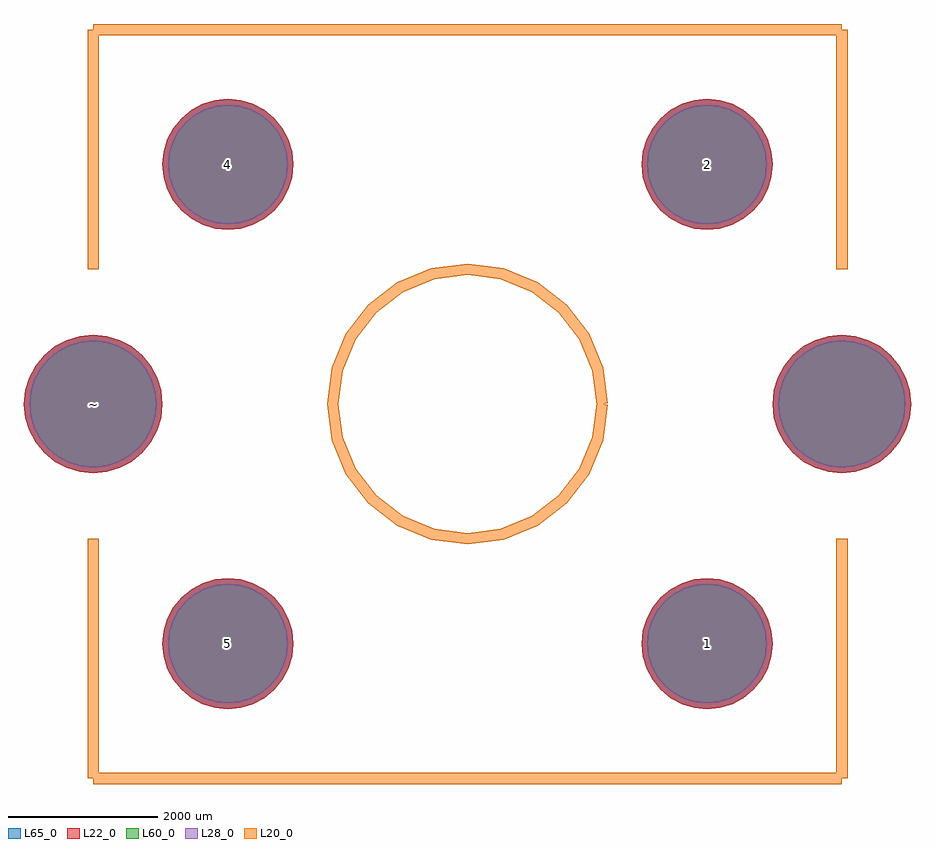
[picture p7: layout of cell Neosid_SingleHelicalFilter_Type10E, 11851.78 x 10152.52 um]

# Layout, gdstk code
import gdstk
lib = gdstk.Library(unit=1e-6, precision=1e-09)
def P(c, l, *ps):  # polygons
    for p in ps: c.add(gdstk.Polygon(p, *l))
L20_0 = (20, 0)
L22_0 = (22, 0)
L28_0 = (28, 0)
L60_0 = (60, 0)
L65_0 = (65, 0)

neosid_singlehelicalfilt = lib.new_cell('Neosid_SingleHelicalFilter_Type10E')
P(neosid_singlehelicalfilt, L22_0, [(5925.89,0),(5908.123,180.386),(5855.507,353.841),(5770.062,513.697),(5655.072,653.812),(5514.957,768.802),(5355.101,854.247),(5181.646,906.863),(5001.26,924.63),(4820.874,906.863),(4647.419,854.247),(4487.563,768.802),(4347.448,653.812),(4232.458,513.697),(4147.013,353.841),(4094.397,180.386),(4076.63,0),(4094.397,-180.386),(4147.013,-353.841),(4232.458,-513.697),(4347.448,-653.812),(4487.563,-768.802),(4647.419,-854.247),(4820.874,-906.863),(5001.26,-924.63),(5181.646,-906.863),(5355.101,-854.247),(5514.957,-768.802),(5655.072,-653.812),(5770.062,-513.697),(5855.507,-353.841),(5908.123,-180.386)],
  [(-4076.63,0),(-4094.397,180.386),(-4147.013,353.841),(-4232.458,513.697),(-4347.448,653.812),(-4487.563,768.802),(-4647.419,854.247),(-4820.874,906.863),(-5001.26,924.63),(-5181.646,906.863),(-5355.101,854.247),(-5514.957,768.802),(-5655.072,653.812),(-5770.062,513.697),(-5855.507,353.841),(-5908.123,180.386),(-5925.89,0),(-5908.123,-180.386),(-5855.507,-353.841),(-5770.062,-513.697),(-5655.072,-653.812),(-5514.957,-768.802),(-5355.101,-854.247),(-5181.646,-906.863),(-5001.26,-924.63),(-4820.874,-906.863),(-4647.419,-854.247),(-4487.563,-768.802),(-4347.448,-653.812),(-4232.458,-513.697),(-4147.013,-353.841),(-4094.397,-180.386)],
  [(4075.5,-3200.4),(4058.685,-3029.676),(4008.887,-2865.514),(3928.019,-2714.22),(3819.189,-2581.611),(3686.58,-2472.781),(3535.286,-2391.913),(3371.124,-2342.115),(3200.4,-2325.3),(3029.676,-2342.115),(2865.514,-2391.913),(2714.22,-2472.781),(2581.611,-2581.611),(2472.781,-2714.22),(2391.913,-2865.514),(2342.115,-3029.676),(2325.3,-3200.4),(2342.115,-3371.124),(2391.913,-3535.286),(2472.781,-3686.58),(2581.611,-3819.189),(2714.22,-3928.019),(2865.514,-4008.887),(3029.676,-4058.685),(3200.4,-4075.5),(3371.124,-4058.685),(3535.286,-4008.887),(3686.58,-3928.019),(3819.189,-3819.189),(3928.019,-3686.58),(4008.887,-3535.286),(4058.685,-3371.124)],
  [(-2325.3,-3200.4),(-2342.115,-3029.676),(-2391.913,-2865.514),(-2472.781,-2714.22),(-2581.611,-2581.611),(-2714.22,-2472.781),(-2865.514,-2391.913),(-3029.676,-2342.115),(-3200.4,-2325.3),(-3371.124,-2342.115),(-3535.286,-2391.913),(-3686.58,-2472.781),(-3819.189,-2581.611),(-3928.019,-2714.22),(-4008.887,-2865.514),(-4058.685,-3029.676),(-4075.5,-3200.4),(-4058.685,-3371.124),(-4008.887,-3535.286),(-3928.019,-3686.58),(-3819.189,-3819.189),(-3686.58,-3928.019),(-3535.286,-4008.887),(-3371.124,-4058.685),(-3200.4,-4075.5),(-3029.676,-4058.685),(-2865.514,-4008.887),(-2714.22,-3928.019),(-2581.611,-3819.189),(-2472.781,-3686.58),(-2391.913,-3535.286),(-2342.115,-3371.124)],
  [(-2325.3,3200.4),(-2342.115,3371.124),(-2391.913,3535.286),(-2472.781,3686.58),(-2581.611,3819.189),(-2714.22,3928.019),(-2865.514,4008.887),(-3029.676,4058.685),(-3200.4,4075.5),(-3371.124,4058.685),(-3535.286,4008.887),(-3686.58,3928.019),(-3819.189,3819.189),(-3928.019,3686.58),(-4008.887,3535.286),(-4058.685,3371.124),(-4075.5,3200.4),(-4058.685,3029.676),(-4008.887,2865.514),(-3928.019,2714.22),(-3819.189,2581.611),(-3686.58,2472.781),(-3535.286,2391.913),(-3371.124,2342.115),(-3200.4,2325.3),(-3029.676,2342.115),(-2865.514,2391.913),(-2714.22,2472.781),(-2581.611,2581.611),(-2472.781,2714.22),(-2391.913,2865.514),(-2342.115,3029.676)],
  [(4075.5,3200.4),(4058.685,3371.124),(4008.887,3535.286),(3928.019,3686.58),(3819.189,3819.189),(3686.58,3928.019),(3535.286,4008.887),(3371.124,4058.685),(3200.4,4075.5),(3029.676,4058.685),(2865.514,4008.887),(2714.22,3928.019),(2581.611,3819.189),(2472.781,3686.58),(2391.913,3535.286),(2342.115,3371.124),(2325.3,3200.4),(2342.115,3029.676),(2391.913,2865.514),(2472.781,2714.22),(2581.611,2581.611),(2714.22,2472.781),(2865.514,2391.913),(3029.676,2342.115),(3200.4,2325.3),(3371.124,2342.115),(3535.286,2391.913),(3686.58,2472.781),(3819.189,2581.611),(3928.019,2714.22),(4008.887,2865.514),(4058.685,3029.676)])
P(neosid_singlehelicalfilt, L28_0, [(5850.89,0),(5834.565,165.755),(5786.216,325.139),(5707.702,472.029),(5602.039,600.779),(5473.289,706.442),(5326.399,784.956),(5167.015,833.305),(5001.26,849.63),(4835.505,833.305),(4676.121,784.956),(4529.231,706.442),(4400.481,600.779),(4294.818,472.029),(4216.304,325.139),(4167.955,165.755),(4151.63,0),(4167.955,-165.755),(4216.304,-325.139),(4294.818,-472.029),(4400.481,-600.779),(4529.231,-706.442),(4676.121,-784.956),(4835.505,-833.305),(5001.26,-849.63),(5167.015,-833.305),(5326.399,-784.956),(5473.289,-706.442),(5602.039,-600.779),(5707.702,-472.029),(5786.216,-325.139),(5834.565,-165.755)],
  [(-4151.63,0),(-4167.955,165.755),(-4216.304,325.139),(-4294.818,472.029),(-4400.481,600.779),(-4529.231,706.442),(-4676.121,784.956),(-4835.505,833.305),(-5001.26,849.63),(-5167.015,833.305),(-5326.399,784.956),(-5473.289,706.442),(-5602.039,600.779),(-5707.702,472.029),(-5786.216,325.139),(-5834.565,165.755),(-5850.89,0),(-5834.565,-165.755),(-5786.216,-325.139),(-5707.702,-472.029),(-5602.039,-600.779),(-5473.289,-706.442),(-5326.399,-784.956),(-5167.015,-833.305),(-5001.26,-849.63),(-4835.505,-833.305),(-4676.121,-784.956),(-4529.231,-706.442),(-4400.481,-600.779),(-4294.818,-472.029),(-4216.304,-325.139),(-4167.955,-165.755)],
  [(4000.5,-3200.4),(3985.126,-3044.308),(3939.596,-2894.215),(3865.659,-2755.888),(3766.156,-2634.644),(3644.912,-2535.141),(3506.585,-2461.204),(3356.492,-2415.674),(3200.4,-2400.3),(3044.308,-2415.674),(2894.215,-2461.204),(2755.888,-2535.141),(2634.644,-2634.644),(2535.141,-2755.888),(2461.204,-2894.215),(2415.674,-3044.308),(2400.3,-3200.4),(2415.674,-3356.492),(2461.204,-3506.585),(2535.141,-3644.912),(2634.644,-3766.156),(2755.888,-3865.659),(2894.215,-3939.596),(3044.308,-3985.126),(3200.4,-4000.5),(3356.492,-3985.126),(3506.585,-3939.596),(3644.912,-3865.659),(3766.156,-3766.156),(3865.659,-3644.912),(3939.596,-3506.585),(3985.126,-3356.492)],
  [(-2400.3,-3200.4),(-2415.674,-3044.308),(-2461.204,-2894.215),(-2535.141,-2755.888),(-2634.644,-2634.644),(-2755.888,-2535.141),(-2894.215,-2461.204),(-3044.308,-2415.674),(-3200.4,-2400.3),(-3356.492,-2415.674),(-3506.585,-2461.204),(-3644.912,-2535.141),(-3766.156,-2634.644),(-3865.659,-2755.888),(-3939.596,-2894.215),(-3985.126,-3044.308),(-4000.5,-3200.4),(-3985.126,-3356.492),(-3939.596,-3506.585),(-3865.659,-3644.912),(-3766.156,-3766.156),(-3644.912,-3865.659),(-3506.585,-3939.596),(-3356.492,-3985.126),(-3200.4,-4000.5),(-3044.308,-3985.126),(-2894.215,-3939.596),(-2755.888,-3865.659),(-2634.644,-3766.156),(-2535.141,-3644.912),(-2461.204,-3506.585),(-2415.674,-3356.492)],
  [(-2400.3,3200.4),(-2415.674,3356.492),(-2461.204,3506.585),(-2535.141,3644.912),(-2634.644,3766.156),(-2755.888,3865.659),(-2894.215,3939.596),(-3044.308,3985.126),(-3200.4,4000.5),(-3356.492,3985.126),(-3506.585,3939.596),(-3644.912,3865.659),(-3766.156,3766.156),(-3865.659,3644.912),(-3939.596,3506.585),(-3985.126,3356.492),(-4000.5,3200.4),(-3985.126,3044.308),(-3939.596,2894.215),(-3865.659,2755.888),(-3766.156,2634.644),(-3644.912,2535.141),(-3506.585,2461.204),(-3356.492,2415.674),(-3200.4,2400.3),(-3044.308,2415.674),(-2894.215,2461.204),(-2755.888,2535.141),(-2634.644,2634.644),(-2535.141,2755.888),(-2461.204,2894.215),(-2415.674,3044.308)],
  [(4000.5,3200.4),(3985.126,3356.492),(3939.596,3506.585),(3865.659,3644.912),(3766.156,3766.156),(3644.912,3865.659),(3506.585,3939.596),(3356.492,3985.126),(3200.4,4000.5),(3044.308,3985.126),(2894.215,3939.596),(2755.888,3865.659),(2634.644,3766.156),(2535.141,3644.912),(2461.204,3506.585),(2415.674,3356.492),(2400.3,3200.4),(2415.674,3044.308),(2461.204,2894.215),(2535.141,2755.888),(2634.644,2634.644),(2755.888,2535.141),(2894.215,2461.204),(3044.308,2415.674),(3200.4,2400.3),(3356.492,2415.674),(3506.585,2461.204),(3644.912,2535.141),(3766.156,2634.644),(3865.659,2755.888),(3939.596,2894.215),(3985.126,3044.308)])
P(neosid_singlehelicalfilt, L60_0, [(5850.89,0),(5834.565,165.755),(5786.216,325.139),(5707.702,472.029),(5602.039,600.779),(5473.289,706.442),(5326.399,784.956),(5167.015,833.305),(5001.26,849.63),(4835.505,833.305),(4676.121,784.956),(4529.231,706.442),(4400.481,600.779),(4294.818,472.029),(4216.304,325.139),(4167.955,165.755),(4151.63,0),(4167.955,-165.755),(4216.304,-325.139),(4294.818,-472.029),(4400.481,-600.779),(4529.231,-706.442),(4676.121,-784.956),(4835.505,-833.305),(5001.26,-849.63),(5167.015,-833.305),(5326.399,-784.956),(5473.289,-706.442),(5602.039,-600.779),(5707.702,-472.029),(5786.216,-325.139),(5834.565,-165.755)],
  [(-4151.63,0),(-4167.955,165.755),(-4216.304,325.139),(-4294.818,472.029),(-4400.481,600.779),(-4529.231,706.442),(-4676.121,784.956),(-4835.505,833.305),(-5001.26,849.63),(-5167.015,833.305),(-5326.399,784.956),(-5473.289,706.442),(-5602.039,600.779),(-5707.702,472.029),(-5786.216,325.139),(-5834.565,165.755),(-5850.89,0),(-5834.565,-165.755),(-5786.216,-325.139),(-5707.702,-472.029),(-5602.039,-600.779),(-5473.289,-706.442),(-5326.399,-784.956),(-5167.015,-833.305),(-5001.26,-849.63),(-4835.505,-833.305),(-4676.121,-784.956),(-4529.231,-706.442),(-4400.481,-600.779),(-4294.818,-472.029),(-4216.304,-325.139),(-4167.955,-165.755)],
  [(4000.5,-3200.4),(3985.126,-3044.308),(3939.596,-2894.215),(3865.659,-2755.888),(3766.156,-2634.644),(3644.912,-2535.141),(3506.585,-2461.204),(3356.492,-2415.674),(3200.4,-2400.3),(3044.308,-2415.674),(2894.215,-2461.204),(2755.888,-2535.141),(2634.644,-2634.644),(2535.141,-2755.888),(2461.204,-2894.215),(2415.674,-3044.308),(2400.3,-3200.4),(2415.674,-3356.492),(2461.204,-3506.585),(2535.141,-3644.912),(2634.644,-3766.156),(2755.888,-3865.659),(2894.215,-3939.596),(3044.308,-3985.126),(3200.4,-4000.5),(3356.492,-3985.126),(3506.585,-3939.596),(3644.912,-3865.659),(3766.156,-3766.156),(3865.659,-3644.912),(3939.596,-3506.585),(3985.126,-3356.492)],
  [(-2400.3,-3200.4),(-2415.674,-3044.308),(-2461.204,-2894.215),(-2535.141,-2755.888),(-2634.644,-2634.644),(-2755.888,-2535.141),(-2894.215,-2461.204),(-3044.308,-2415.674),(-3200.4,-2400.3),(-3356.492,-2415.674),(-3506.585,-2461.204),(-3644.912,-2535.141),(-3766.156,-2634.644),(-3865.659,-2755.888),(-3939.596,-2894.215),(-3985.126,-3044.308),(-4000.5,-3200.4),(-3985.126,-3356.492),(-3939.596,-3506.585),(-3865.659,-3644.912),(-3766.156,-3766.156),(-3644.912,-3865.659),(-3506.585,-3939.596),(-3356.492,-3985.126),(-3200.4,-4000.5),(-3044.308,-3985.126),(-2894.215,-3939.596),(-2755.888,-3865.659),(-2634.644,-3766.156),(-2535.141,-3644.912),(-2461.204,-3506.585),(-2415.674,-3356.492)],
  [(-2400.3,3200.4),(-2415.674,3356.492),(-2461.204,3506.585),(-2535.141,3644.912),(-2634.644,3766.156),(-2755.888,3865.659),(-2894.215,3939.596),(-3044.308,3985.126),(-3200.4,4000.5),(-3356.492,3985.126),(-3506.585,3939.596),(-3644.912,3865.659),(-3766.156,3766.156),(-3865.659,3644.912),(-3939.596,3506.585),(-3985.126,3356.492),(-4000.5,3200.4),(-3985.126,3044.308),(-3939.596,2894.215),(-3865.659,2755.888),(-3766.156,2634.644),(-3644.912,2535.141),(-3506.585,2461.204),(-3356.492,2415.674),(-3200.4,2400.3),(-3044.308,2415.674),(-2894.215,2461.204),(-2755.888,2535.141),(-2634.644,2634.644),(-2535.141,2755.888),(-2461.204,2894.215),(-2415.674,3044.308)],
  [(4000.5,3200.4),(3985.126,3356.492),(3939.596,3506.585),(3865.659,3644.912),(3766.156,3766.156),(3644.912,3865.659),(3506.585,3939.596),(3356.492,3985.126),(3200.4,4000.5),(3044.308,3985.126),(2894.215,3939.596),(2755.888,3865.659),(2634.644,3766.156),(2535.141,3644.912),(2461.204,3506.585),(2415.674,3356.492),(2400.3,3200.4),(2415.674,3044.308),(2461.204,2894.215),(2535.141,2755.888),(2634.644,2634.644),(2755.888,2535.141),(2894.215,2461.204),(3044.308,2415.674),(3200.4,2400.3),(3356.492,2415.674),(3506.585,2461.204),(3644.912,2535.141),(3766.156,2634.644),(3865.659,2755.888),(3939.596,2894.215),(3985.126,3044.308)])
P(neosid_singlehelicalfilt, L65_0, [(5925.89,0),(5908.123,180.386),(5855.507,353.841),(5770.062,513.697),(5655.072,653.812),(5514.957,768.802),(5355.101,854.247),(5181.646,906.863),(5001.26,924.63),(4820.874,906.863),(4647.419,854.247),(4487.563,768.802),(4347.448,653.812),(4232.458,513.697),(4147.013,353.841),(4094.397,180.386),(4076.63,0),(4094.397,-180.386),(4147.013,-353.841),(4232.458,-513.697),(4347.448,-653.812),(4487.563,-768.802),(4647.419,-854.247),(4820.874,-906.863),(5001.26,-924.63),(5181.646,-906.863),(5355.101,-854.247),(5514.957,-768.802),(5655.072,-653.812),(5770.062,-513.697),(5855.507,-353.841),(5908.123,-180.386)],
  [(-4076.63,0),(-4094.397,180.386),(-4147.013,353.841),(-4232.458,513.697),(-4347.448,653.812),(-4487.563,768.802),(-4647.419,854.247),(-4820.874,906.863),(-5001.26,924.63),(-5181.646,906.863),(-5355.101,854.247),(-5514.957,768.802),(-5655.072,653.812),(-5770.062,513.697),(-5855.507,353.841),(-5908.123,180.386),(-5925.89,0),(-5908.123,-180.386),(-5855.507,-353.841),(-5770.062,-513.697),(-5655.072,-653.812),(-5514.957,-768.802),(-5355.101,-854.247),(-5181.646,-906.863),(-5001.26,-924.63),(-4820.874,-906.863),(-4647.419,-854.247),(-4487.563,-768.802),(-4347.448,-653.812),(-4232.458,-513.697),(-4147.013,-353.841),(-4094.397,-180.386)],
  [(4075.5,-3200.4),(4058.685,-3029.676),(4008.887,-2865.514),(3928.019,-2714.22),(3819.189,-2581.611),(3686.58,-2472.781),(3535.286,-2391.913),(3371.124,-2342.115),(3200.4,-2325.3),(3029.676,-2342.115),(2865.514,-2391.913),(2714.22,-2472.781),(2581.611,-2581.611),(2472.781,-2714.22),(2391.913,-2865.514),(2342.115,-3029.676),(2325.3,-3200.4),(2342.115,-3371.124),(2391.913,-3535.286),(2472.781,-3686.58),(2581.611,-3819.189),(2714.22,-3928.019),(2865.514,-4008.887),(3029.676,-4058.685),(3200.4,-4075.5),(3371.124,-4058.685),(3535.286,-4008.887),(3686.58,-3928.019),(3819.189,-3819.189),(3928.019,-3686.58),(4008.887,-3535.286),(4058.685,-3371.124)],
  [(-2325.3,-3200.4),(-2342.115,-3029.676),(-2391.913,-2865.514),(-2472.781,-2714.22),(-2581.611,-2581.611),(-2714.22,-2472.781),(-2865.514,-2391.913),(-3029.676,-2342.115),(-3200.4,-2325.3),(-3371.124,-2342.115),(-3535.286,-2391.913),(-3686.58,-2472.781),(-3819.189,-2581.611),(-3928.019,-2714.22),(-4008.887,-2865.514),(-4058.685,-3029.676),(-4075.5,-3200.4),(-4058.685,-3371.124),(-4008.887,-3535.286),(-3928.019,-3686.58),(-3819.189,-3819.189),(-3686.58,-3928.019),(-3535.286,-4008.887),(-3371.124,-4058.685),(-3200.4,-4075.5),(-3029.676,-4058.685),(-2865.514,-4008.887),(-2714.22,-3928.019),(-2581.611,-3819.189),(-2472.781,-3686.58),(-2391.913,-3535.286),(-2342.115,-3371.124)],
  [(-2325.3,3200.4),(-2342.115,3371.124),(-2391.913,3535.286),(-2472.781,3686.58),(-2581.611,3819.189),(-2714.22,3928.019),(-2865.514,4008.887),(-3029.676,4058.685),(-3200.4,4075.5),(-3371.124,4058.685),(-3535.286,4008.887),(-3686.58,3928.019),(-3819.189,3819.189),(-3928.019,3686.58),(-4008.887,3535.286),(-4058.685,3371.124),(-4075.5,3200.4),(-4058.685,3029.676),(-4008.887,2865.514),(-3928.019,2714.22),(-3819.189,2581.611),(-3686.58,2472.781),(-3535.286,2391.913),(-3371.124,2342.115),(-3200.4,2325.3),(-3029.676,2342.115),(-2865.514,2391.913),(-2714.22,2472.781),(-2581.611,2581.611),(-2472.781,2714.22),(-2391.913,2865.514),(-2342.115,3029.676)],
  [(4075.5,3200.4),(4058.685,3371.124),(4008.887,3535.286),(3928.019,3686.58),(3819.189,3819.189),(3686.58,3928.019),(3535.286,4008.887),(3371.124,4058.685),(3200.4,4075.5),(3029.676,4058.685),(2865.514,4008.887),(2714.22,3928.019),(2581.611,3819.189),(2472.781,3686.58),(2391.913,3535.286),(2342.115,3371.124),(2325.3,3200.4),(2342.115,3029.676),(2391.913,2865.514),(2472.781,2714.22),(2581.611,2581.611),(2714.22,2472.781),(2865.514,2391.913),(3029.676,2342.115),(3200.4,2325.3),(3371.124,2342.115),(3535.286,2391.913),(3686.58,2472.781),(3819.189,2581.611),(3928.019,2714.22),(4008.887,2865.514),(4058.685,3029.676)])
neosid_singlehelicalfilt.add(gdstk.FlexPath([(1800.86,0),(1739.497,466.097),(1559.591,900.43),(1273.4,1273.4),(900.43,1559.591),(466.097,1739.497),(0,1800.86),(-466.097,1739.497),(-900.43,1559.591),(-1273.4,1273.4),(-1559.591,900.43),(-1739.497,466.097),(-1800.86,0),(-1739.497,-466.097),(-1559.591,-900.43),(-1273.4,-1273.4),(-900.43,-1559.591),(-466.097,-1739.497),(0,-1800.86),(466.097,-1739.497),(900.43,-1559.591),(1273.4,-1273.4),(1559.591,-900.43),(1739.497,-466.097),(1800.86,0)], 149.998, ends="flush", simple_path=True, layer=20, datatype=0))  # L20_0
neosid_singlehelicalfilt.add(gdstk.FlexPath([(-5001.26,5001.26),(-5001.26,1800.86)], 149.998, ends="flush", simple_path=True, layer=20, datatype=0))  # L20_0
neosid_singlehelicalfilt.add(gdstk.FlexPath([(5001.26,5001.26),(-5001.26,5001.26)], 149.998, ends="flush", simple_path=True, layer=20, datatype=0))  # L20_0
neosid_singlehelicalfilt.add(gdstk.FlexPath([(-5001.26,-1800.86),(-5001.26,-5001.26)], 149.998, ends="flush", simple_path=True, layer=20, datatype=0))  # L20_0
neosid_singlehelicalfilt.add(gdstk.FlexPath([(5001.26,-5001.26),(5001.26,-1800.86)], 149.998, ends="flush", simple_path=True, layer=20, datatype=0))  # L20_0
neosid_singlehelicalfilt.add(gdstk.FlexPath([(-5001.26,-5001.26),(5001.26,-5001.26)], 149.998, ends="flush", simple_path=True, layer=20, datatype=0))  # L20_0
neosid_singlehelicalfilt.add(gdstk.FlexPath([(5001.26,1800.86),(5001.26,5001.26)], 149.998, ends="flush", simple_path=True, layer=20, datatype=0))  # L20_0
neosid_singlehelicalfilt.add(gdstk.Label('~', (-5001.26,0), layer=28, texttype=0))
neosid_singlehelicalfilt.add(gdstk.Label('1', (3200.4,-3200.4), layer=28, texttype=0))
neosid_singlehelicalfilt.add(gdstk.Label('5', (-3200.4,-3200.4), layer=28, texttype=0))
neosid_singlehelicalfilt.add(gdstk.Label('4', (-3200.4,3200.4), layer=28, texttype=0))
neosid_singlehelicalfilt.add(gdstk.Label('2', (3200.4,3200.4), layer=28, texttype=0))
neosid_singlehelicalfilt.add(gdstk.Label('type', (149.86,-7150.1), layer=9, texttype=0))
neosid_singlehelicalfilt.add(gdstk.Label('devicename', (99.06,6250.94), layer=9, texttype=0))

lib.write_gds('Neosid_SingleHelicalFilter_Type10E.gds')
